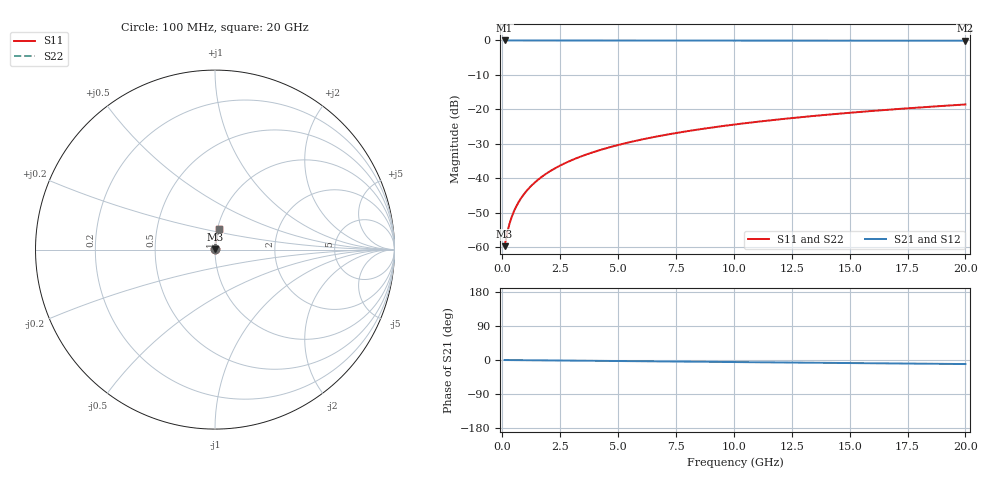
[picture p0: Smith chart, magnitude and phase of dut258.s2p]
! Touchstone file exported from HFSS 2026.1.0
!  File:  C:/ffzhzh/LocalFiles/Ansys_Project_Files/temp_train_BSMRDL_258_1782988728_40604.aedt
!  Generated:  06:40:01 PM Jul  2, 2026
!  Design:  BSMRDL
!  Project:  temp_train_BSMRDL_258_1782988728_40604
! Variables:
!  h_bsmrdl = 2.96um
!  h_ox = 20um
!  h_rdl = 5um
!  h_sub = 80um
!  h_tmrdl = 5um
!  h_tsv = 80um
!  h_via = 3um
!  l_bsmrdl = 105.09um
!  l_sub = 505.09um
!  l_tmrdl = 200um
!  m_sub = 200um
!  pitch = 54.39um
!  r_tsv = 6um
!  s_tmrdl = 10um
!  w_bsmrdl = 25.56um
!  w_sub = 500um
!  w_tmrdl = 12um
!  x_tsv_center1 = 206um
!  x_tsv_center2 = 336.65um
!  x_tsv_center3 = 548.65um
!  x_tsv_center4 = 679.3um
!  x_tsv_center5 = 891.3um
!  x_tsv_center6 = 1021.95um
# GHz S MA R 50.000000
! Terminal data exported
! Port[1] = BSM_RDL1_1_T1
! Port[2] = BSM_RDL1_1_T2
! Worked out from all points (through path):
!   200 points, 100 MHz to 20 GHz, reference 50 ohm
!   highest |S21| = -0.01 dB at 100 MHz (marker M1); lowest = -0.1 dB at 20 GHz (marker M2)
!   group delay of S21, straight-line fit = 1.49 ps
!   lowest |S11| = -59.7 dB at 100 MHz (marker M3), VSWR 1.00, Z = 50.1 + j0.0659 ohm
!   |S11| at or under -10 dB: start of sweep to end of sweep
!   |S22| runs from -59.7 to -18.6 dB; largest |S21 - S12| = 3e-15
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0.1  0.00103 39.7  0.9992 -0.1  0.9992 -0.1  0.00103 39.7
! Gamma 0 0 0 0
! Port Impedance 50 0 50 0
0.2  0.001541 57.7  0.9992 -0.1  0.9992 -0.1  0.001541 57.7
0.3  0.002114 66.0  0.9991 -0.2  0.9991 -0.2  0.002114 66.0
0.4  0.002699 70.6  0.9991 -0.2  0.9991 -0.2  0.002699 70.6
0.5  0.003287 73.6  0.9991 -0.3  0.9991 -0.3  0.003287 73.6
0.6  0.003876 75.7  0.9991 -0.3  0.9991 -0.3  0.003876 75.7
0.8  0.005058 78.5  0.999 -0.4  0.999 -0.4  0.005058 78.5
1.1  0.006843 81.0  0.999 -0.6  0.999 -0.6  0.006843 81.0
1.5  0.00924 82.8  0.9989 -0.8  0.9989 -0.8  0.00924 82.8
1.8  0.01104 83.6  0.9989 -1.0  0.9989 -1.0  0.01104 83.6
2.1  0.01285 84.1  0.9989 -1.1  0.9989 -1.1  0.01285 84.1
2.7  0.01647 84.7  0.9988 -1.5  0.9988 -1.5  0.01647 84.7
3.5  0.0213 84.9  0.9986 -1.9  0.9986 -1.9  0.0213 84.9
4.2  0.02551 84.9  0.9984 -2.3  0.9984 -2.3  0.02551 84.9
5  0.03032 84.8  0.9982 -2.7  0.9982 -2.7  0.03032 84.8
5.9  0.0357 84.5  0.9979 -3.2  0.9979 -3.2  0.0357 84.5
6.8  0.04107 84.2  0.9976 -3.7  0.9976 -3.7  0.04107 84.2
8.3  0.04997 83.5  0.997 -4.5  0.997 -4.5  0.04997 83.5
10.1  0.06057 82.7  0.9962 -5.5  0.9962 -5.5  0.06057 82.7
13.4  0.07981 81.1  0.9945 -7.2  0.9945 -7.2  0.07981 81.1
16.7  0.09881 79.5  0.9925 -9.0  0.9925 -9.0  0.09881 79.5
20  0.1176 77.9  0.9901 -10.7  0.9901 -10.7  0.1176 77.9
